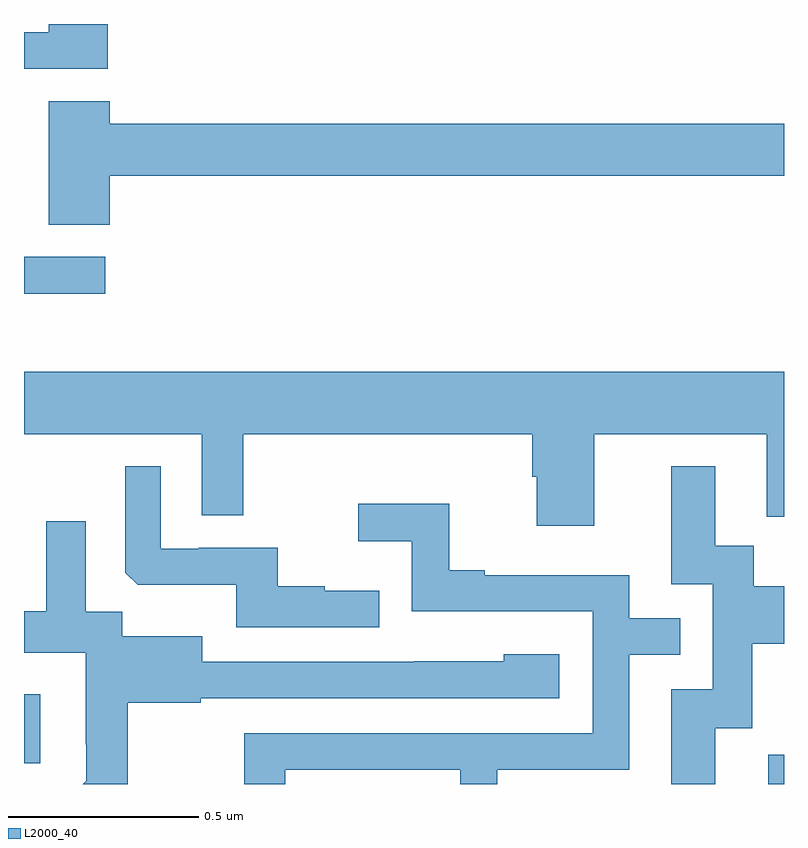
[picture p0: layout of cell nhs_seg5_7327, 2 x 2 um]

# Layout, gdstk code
import gdstk
lib = gdstk.Library(unit=1e-6, precision=1e-09)
def R(c, l, rs):  # rectangles x0, y0, x1, y1
    for r in rs: c.add(gdstk.rectangle(r[:2], r[2:], *l))
def P(c, l, *ps):  # polygons
    for p in ps: c.add(gdstk.Polygon(p, *l))
L2000_40 = (2000, 40)

nhs_seg5_7327 = lib.new_cell('nhs_seg5_7327')
R(nhs_seg5_7327, L2000_40, [(208.958,895.799,209,895.876), (207,895.854,207.043,896.035), (207,897.089,207.214,897.186)])
P(nhs_seg5_7327, L2000_40, [(207.221,897.799),(207.065,897.799),(207.065,897.777),(207,897.777),(207,897.681),(207.221,897.681)],
  [(207.226,897.4),(209,897.4),(209,897.536),(207.226,897.536),(207.226,897.596),(207.065,897.596),(207.065,897.271),(207.226,897.271)],
  [(208.501,896.72),(208.955,896.72),(208.955,896.502),(209,896.502),(209,896.884),(207,896.884),(207,896.72),(207.468,896.72),(207.468,896.506),(207.577,896.506),(207.577,896.72),(208.337,896.72),(208.337,896.607),(208.349,896.607),(208.349,896.478),(208.501,896.478)],
  [(207.935,896.308),(207.791,896.308),(207.791,896.32),(207.668,896.32),(207.668,896.421),(207.46,896.421),(207.46,896.418),(207.36,896.418),(207.36,896.635),(207.267,896.635),(207.267,896.355),(207.299,896.324),(207.558,896.324),(207.558,896.211),(207.935,896.211)],
  [(208.819,895.946),(208.917,895.946),(208.917,896.168),(209,896.168),(209,896.32),(208.921,896.32),(208.921,896.426),(208.819,896.426),(208.819,896.635),(208.703,896.635),(208.703,896.325),(208.812,896.325),(208.812,896.049),(208.703,896.049),(208.703,895.799),(208.819,895.799)],
  [(207.688,895.836),(208.148,895.836),(208.148,895.799),(208.246,895.799),(208.246,895.836),(208.593,895.836),(208.593,896.139),(208.727,896.139),(208.727,896.235),(208.593,896.235),(208.593,896.349),(208.213,896.349),(208.213,896.362),(208.119,896.362),(208.119,896.537),(207.879,896.537),(207.879,896.438),(208.02,896.438),(208.02,896.253),(208.497,896.253),(208.497,895.932),(207.579,895.932),(207.579,895.799),(207.688,895.799)],
  [(207.273,896.013),(207.465,896.013),(207.465,896.025),(208.408,896.025),(208.408,896.14),(208.263,896.14),(208.263,896.122),(208.027,896.122),(208.027,896.121),(207.469,896.121),(207.469,896.188),(207.258,896.188),(207.258,896.252),(207.163,896.252),(207.163,896.491),(207.059,896.491),(207.059,896.254),(207,896.254),(207,896.144),(207.162,896.144),(207.162,895.903),(207.164,895.903),(207.164,895.808),(207.155,895.799),(207.273,895.799)])

lib.write_gds('nhs_seg5_7327.gds')
